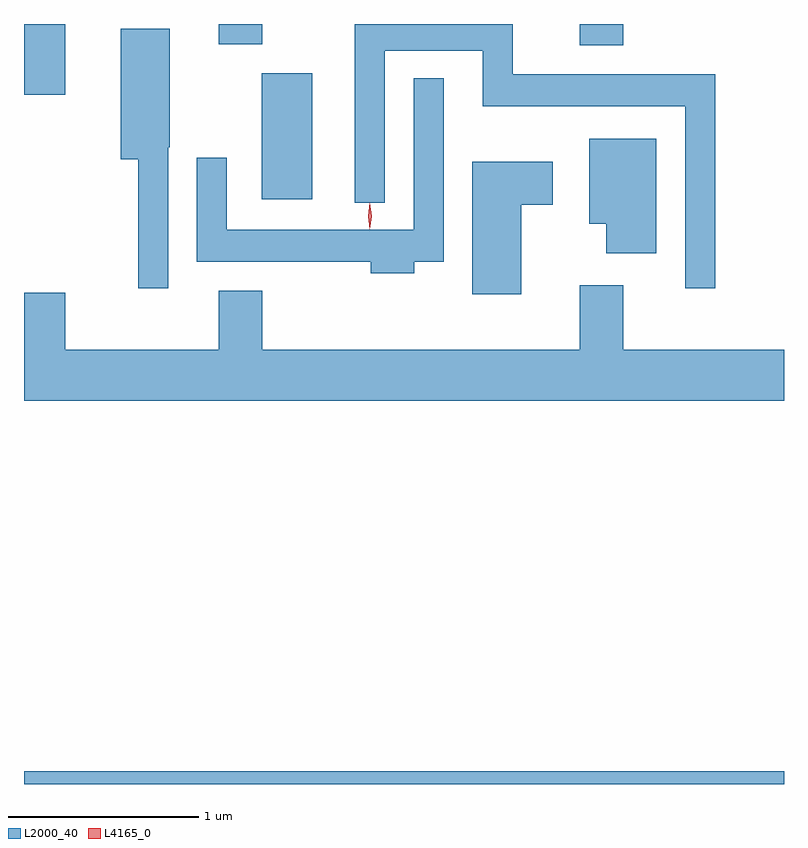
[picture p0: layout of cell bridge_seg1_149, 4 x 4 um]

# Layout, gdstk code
import gdstk
lib = gdstk.Library(unit=1e-6, precision=1e-09)
def R(c, l, rs):  # rectangles x0, y0, x1, y1
    for r in rs: c.add(gdstk.rectangle(r[:2], r[2:], *l))
def P(c, l, *ps):  # polygons
    for p in ps: c.add(gdstk.Polygon(p, *l))
L2000_40 = (2000, 40)
L4165_0 = (4165, 0)

bridge_seg1_149 = lib.new_cell('bridge_seg1_149')
R(bridge_seg1_149, L2000_40, [(854.486,906.438,858.486,906.504), (855.736,909.516,856.004,910.179), (854.486,910.066,854.704,910.438), (857.411,910.326,857.639,910.438), (855.511,910.331,855.739,910.438)])
P(bridge_seg1_149, L2000_40, [(858.124,910.174),(857.059,910.174),(857.059,910.438),(856.226,910.438),(856.226,909.498),(856.384,909.498),(856.384,910.296),(856.901,910.296),(856.901,910.006),(857.966,910.006),(857.966,909.048),(858.124,909.048)],
  [(855.244,909.79),(855.254,909.79),(855.254,910.414),(854.996,910.414),(854.996,909.726),(855.086,909.726),(855.086,909.048),(855.244,909.048)],
  [(856.539,909.186),(856.694,909.186),(856.694,910.153),(856.536,910.153),(856.536,909.354),(855.554,909.354),(855.554,909.733),(855.396,909.733),(855.396,909.186),(856.311,909.186),(856.311,909.126),(856.539,909.126)],
  [(857.814,909.834),(857.461,909.834),(857.461,909.386),(857.551,909.386),(857.551,909.231),(857.814,909.231)],
  [(857.104,909.486),(857.269,909.486),(857.269,909.714),(856.846,909.714),(856.846,909.016),(857.104,909.016)],
  [(858.486,908.724),(857.639,908.724),(857.639,909.064),(857.411,909.064),(857.411,908.724),(855.739,908.724),(855.739,909.034),(855.511,909.034),(855.511,908.724),(854.704,908.724),(854.704,909.024),(854.486,909.024),(854.486,908.456),(858.486,908.456)])
P(bridge_seg1_149, L4165_0, [(856.307,909.357),(856.306,909.358),(856.297,909.427),(856.306,909.496),(856.306,909.496),(856.307,909.496),(856.317,909.427),(856.307,909.358)])

lib.write_gds('bridge_seg1_149.gds')
